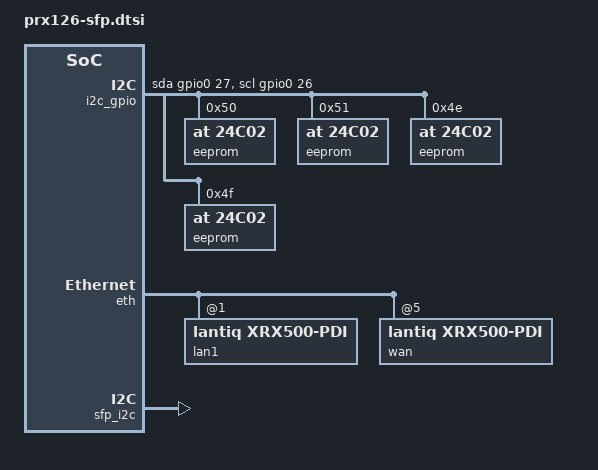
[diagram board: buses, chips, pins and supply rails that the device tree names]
#include <dt-bindings/gpio/gpio.h>
#include <dt-bindings/net/lantiq,prx300-eth.h>
#include "prx300.dtsi"

/ {
	aliases {
		i2c0	= &i2c_gpio;
	};

	i2c_gpio: i2c-gpio {
		compatible = "i2c-gpio";
		gpios = <&gpio0 27 GPIO_ACTIVE_HIGH /* sda */
			 &gpio0 26 GPIO_ACTIVE_HIGH /* scl */
			>;
		i2c-gpio,delay-us = <5>;	/* ~100 kHz */
		pinctrl-names = "default";
		pinctrl-0 = <&pinctrl_i2c0_gpio>;
		#address-cells = <1>;
		#size-cells = <0>;

		/* EEPROM of the optical WAN transceiver */
		eeprom@50 {
			compatible = "at,24c02";
			reg = <0x50>;
		};
		eeprom@51 {
			compatible = "at,24c02";
			reg = <0x51>;
		};

		/* EEPROM of the MACOM optical WAN transceiver */
		/* The datasheet says these are at,24c08, but then probe will fail. */
		eeprom@4e {
			compatible = "at,24c02";
			reg = <0x4e>;
			pagesize = <16>;
		};
		eeprom@4f {
			compatible = "at,24c02";
			reg = <0x4f>;
			pagesize = <16>;
		};
	};
};


/******************************************************************************
 ** Board configuration: Configure LAN/WAN interfaces
 ******************************************************************************/
&eth {
	status = "okay";

	lan1: interface@1 {
		compatible = "lantiq,xrx500-pdi";
		#address-cells = <1>;
		#size-cells = <0>;
		reg = <1>;
		intel,dp-dev-port = <4>;
		intel,dp-port-id = <4>;
		mac = <&gsw_mac2>;
		intel,lct-en = <1>;
		intel,extra-subif = <4>;
		/* Specify traffic domains for LAN interfaces:
		 * [LAN/LCT]	- UNI_BR_DOMAIN_UC  - Unicast
		 * [MC]		- UNI_BR_DOMAIN_MC  - Multicast
		 * [BC]		- UNI_BR_DOMAIN_BC1 - Broadcast one
		 * [US]		- UNI_BR_DOMAIN_US  - Upstream
		 */
		mxl,bridge-domain = <UNI_BR_DOMAIN_UC>, <UNI_BR_DOMAIN_UC>,
				    <UNI_BR_DOMAIN_MC>, <UNI_BR_DOMAIN_BC1>,
				    <UNI_BR_DOMAIN_US>;

		ethernet@1 {
			compatible = "lantiq,xrx500-pdi-port";
			reg = <2>;
			phy-mode = "rgmii";
		};
	};

	wan: interface@5 {
		compatible = "lantiq,xrx500-pdi";
		#address-cells = <1>;
		#size-cells = <0>;
		reg = <5>;
		lantiq,wan = <1>;
		intel,dp-dev-port = <2>;
		intel,dp-port-id = <2>;
		mac = <&gsw_mac0>;

		ethernet@5 {
			compatible = "lantiq,xrx500-pdi-port";
			reg = <1>;
			phy-mode = "rgmii";
		};
	};
};

/* This is needed to improve qspi stability on the board */
&pinctrl_qspi {
	intel,slew-rate = <1>;
	intel,drive-current = <3>;
};

&ssc0 {
	status = "disabled";
	pinctrl-0 = <&pinctrl_spi0_alt &pinctrl_spi0_cs_alt>;

	ltq-spinand@1 {
		status = "disabled";
		#address-cells = <1>;
		#size-cells = <1>;
		reg = <1>;
		compatible = "lantiq,spinand";
		linux,mtd-name = "nand.0";
		spi-max-frequency = <15384615>;
	};
};

&qspi0 {
	status = "disabled";

	ltq-spinand@0 {
		status = "disabled";
		#address-cells = <1>;
		#size-cells = <1>;
		compatible = "lantiq,spinand";
		reg = <0 1>;
		linux,mtd-name = "nand.0";
		spi-max-frequency = <50000000>;
		page-size = <2048>;
		block-size = <17>; // 2^17, 128KB
		spi-tx-bus-width = <4>;
		spi-rx-bus-width = <4>;

		/* Read-delay is needed for higher freq.
		 * 2 ref_clk is chosen as value that works well upto
		 * spi-freq 50MHz (with ref_clk 100MHz).
		 */
		read-delay = <2>;
		tshsl-ns = <200>;
		tsd2d-ns = <255>;
		tchsh-ns = <20>;
		tslch-ns = <20>;
	};
};

&wan_xpcs {
	status = "disabled";
	xpcs-conntype = "SFP"; /* SFP or PHY */
};

&lan_xpcs1 {
	status = "disabled";
	xpcs-conntype = "SFP"; /* SFP or PHY */
	link_poll_interval = <3>;
	xpcs_mode_cfg_seq = <3 0 2 1>;
	/* xpcs RX EQ Settings */
	xpcs-afe_en = <0x0>, <0x0>,<0x0>, <0x0>;
	xpcs-dfe_en = <0x1>, <0x0>, <0x1>, <0x1>;
	xpcs-cont_adapt_en = <0x1>, <0x1>, <0x1>, <0x1>;
	xpcs-rx_attn_lvl = <0x7>, <0x7>, <0x7>, <0x7>;
	xpcs-rx_ctle_boost = <0x0>, <0x0>, <0x0>, <0x0>;
	xpcs-rx_ctle_pole = <0x6>, <0x6>, <0x6>, <0x6>;
	xpcs-rx_vga2_gain = <0x5>, <0x5>, <0x5>, <0x5>;
	xpcs-rx_vga1_gain = <0x5>, <0x5>, <0x5>, <0x5>;
	/* xpcs TX EQ Settings */
	xpcs-tx_eq_pre = <0x0>, <0x0>, <0x0>, <0x0>;
	xpcs-tx_eq_post =  <0x0>, <0x0>, <0x1>, <0x1>;
	xpcs-tx_eq_main = <0x28>, <0x28>, <0xC>, <0xC>;
	xpcs-tx_iboost_lvl = <0xF>, <0xF>,<0xF>, <0xF>;
	xpcs-tx_vboost_lvl = <0x5>, <0x5>, <0x5>, <0x5>;
	xpcs-tx_vboost_en = <0x1>, <0x1>, <0x1>, <0x1>;
};

/******************************************************************************
 ** Select single CPU mode to avoid problems with the I2C Slave emulation
 ******************************************************************************/

&cpu1 {
	default-OS = "NONE";
	/delete-property/ operating-points-v2;
};

&cpu2 {
	default-OS = "NONE";
	/delete-property/ operating-points-v2;
};

&cpu3 {
	default-OS = "NONE";
	/delete-property/ operating-points-v2;
};

&cpu_opp_table {
	opp@800000000 {
		status = "disabled";
	};
};

/** I2C Slave emulation with EEPROM */
&sfp_i2c {
	status = "okay";
	gpio-moddef0 = <&gpio0 8 GPIO_ACTIVE_HIGH>;
};

&pinctrl {
	rx_los_disabled: rx-los-disabled {
		intel,groups = "rx_los_dis";
		intel,function = "gpio";
		intel,pins = <25>;
		intel,mux = <EQBR_MUX_0>;
	};

	rx_los_enabled: rx-los-enabled {
		intel,groups = "rx_los_en";
		intel,function = "pon_ip";
		intel,pins = <25>;
		intel,mux = <EQBR_MUX_2>;
	};

	pin_1pps_disabled: pin_1pps-disabled {
		intel,groups = "1pps_dis";
		intel,function = "gpio";
		intel,pins = <29>;
		intel,mux = <EQBR_MUX_0>;
	};

	ntr_disabled: ntr-disabled {
		intel,groups = "ntr_dis";
		intel,function = "gpio";
		intel,pins = <28>;
		intel,mux = <EQBR_MUX_0>;
	};

	ntr_enabled: ntr-enabled {
		intel,groups = "ntr_en";
		intel,function = "pon_ip";
		intel,pins = <28>;
		intel,mux = <EQBR_MUX_2>;
	};
};

/ {
	pinselect_rx_los: pinselect-rx-los {
		compatible = "intel,pon-pinselect-rx-los";
		pinctrl-names = "default","disable","enable";
		pinctrl-0 = <&rx_los_disabled>;
		pinctrl-1 = <&rx_los_disabled>;
		pinctrl-2 = <&rx_los_enabled>;
	};

	pinselect-1pps {
		compatible = "intel,pon-pinselect-1pps";
		pinctrl-names = "default","disable","enable";
		pinctrl-0 = <&pin_1pps_disabled>;
		pinctrl-1 = <&pin_1pps_disabled>;
		pinctrl-2 = <&pinctrl_gpc3>;
	};

	pinselect-ntr {
		compatible = "intel,pon-pinselect-ntr";
		pinctrl-names = "default","disable","enable";
		pinctrl-0 = <&ntr_disabled>;
		pinctrl-1 = <&ntr_disabled>;
		pinctrl-2 = <&ntr_enabled>;
	};
};
